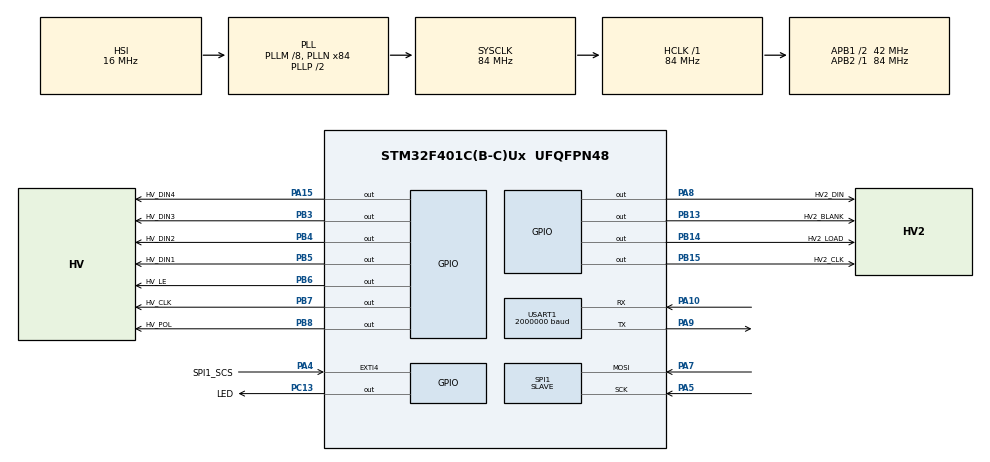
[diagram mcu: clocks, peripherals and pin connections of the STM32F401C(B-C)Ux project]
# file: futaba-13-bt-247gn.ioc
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Dma.Request0=SPI1_RX
Dma.Request1=USART1_RX
Dma.Request2=USART1_TX
Dma.SPI1_RX.0.Direction=DMA_PERIPH_TO_MEMORY
Dma.SPI1_RX.0.FIFOMode=DMA_FIFOMODE_DISABLE
Dma.SPI1_RX.0.Instance=DMA2_Stream0
Dma.SPI1_RX.0.MemDataAlignment=DMA_MDATAALIGN_BYTE
Dma.SPI1_RX.0.MemInc=DMA_MINC_ENABLE
Dma.SPI1_RX.0.Mode=DMA_CIRCULAR
Dma.SPI1_RX.0.PeriphDataAlignment=DMA_PDATAALIGN_BYTE
Dma.SPI1_RX.0.PeriphInc=DMA_PINC_DISABLE
Dma.SPI1_RX.0.Priority=DMA_PRIORITY_LOW
Dma.USART1_RX.1.Direction=DMA_PERIPH_TO_MEMORY
Dma.USART1_RX.1.FIFOMode=DMA_FIFOMODE_DISABLE
Dma.USART1_RX.1.Instance=DMA2_Stream2
Dma.USART1_RX.1.MemDataAlignment=DMA_MDATAALIGN_BYTE
Dma.USART1_RX.1.MemInc=DMA_MINC_ENABLE
Dma.USART1_RX.1.Mode=DMA_NORMAL
Dma.USART1_RX.1.PeriphDataAlignment=DMA_PDATAALIGN_BYTE
Dma.USART1_RX.1.PeriphInc=DMA_PINC_DISABLE
Dma.USART1_RX.1.Priority=DMA_PRIORITY_LOW
Dma.USART1_TX.2.Direction=DMA_MEMORY_TO_PERIPH
Dma.USART1_TX.2.FIFOMode=DMA_FIFOMODE_DISABLE
Dma.USART1_TX.2.Instance=DMA2_Stream7
Dma.USART1_TX.2.MemDataAlignment=DMA_MDATAALIGN_BYTE
Dma.USART1_TX.2.MemInc=DMA_MINC_ENABLE
Dma.USART1_TX.2.Mode=DMA_NORMAL
Dma.USART1_TX.2.PeriphDataAlignment=DMA_PDATAALIGN_BYTE
Dma.USART1_TX.2.PeriphInc=DMA_PINC_DISABLE
Dma.USART1_TX.2.Priority=DMA_PRIORITY_LOW
Mcu.Family=STM32F4
Mcu.Name=STM32F401C(B-C)Ux
Mcu.Package=UFQFPN48
NVIC.DMA2_Stream0_IRQn=true\:0\:0\:false\:false\:true\:false\:true\:true
NVIC.DMA2_Stream2_IRQn=true\:0\:0\:false\:false\:true\:false\:true\:true
NVIC.DMA2_Stream7_IRQn=true\:0\:0\:false\:false\:true\:false\:true\:true
NVIC.EXTI4_IRQn=true\:0\:0\:false\:false\:true\:true\:true\:true
NVIC.PriorityGroup=NVIC_PRIORITYGROUP_4
NVIC.SPI1_IRQn=true\:0\:0\:false\:false\:true\:true\:true\:true
NVIC.USART1_IRQn=true\:0\:0\:false\:false\:true\:true\:true\:true
PA10.Mode=Asynchronous
PA10.Signal=USART1_RX
PA13.Mode=Serial_Wire
PA13.Signal=SYS_JTMS-SWDIO
PA14.Mode=Serial_Wire
PA14.Signal=SYS_JTCK-SWCLK
PA15.GPIO_Label=HV_DIN4
PA15.GPIO_ModeDefaultOutputPP=GPIO_MODE_OUTPUT_OD
PA15.GPIO_PuPd=GPIO_NOPULL
PA15.GPIO_Speed=GPIO_SPEED_FREQ_HIGH
PA15.PinState=GPIO_PIN_RESET
PA15.Signal=GPIO_Output
PA4.GPIO_Label=SPI1_SCS
PA4.GPIO_ModeDefaultEXTI=GPIO_MODE_IT_RISING
PA4.GPIO_PuPd=GPIO_PULLUP
PA4.Signal=GPXTI4
PA5.GPIO_PuPd=GPIO_PULLUP
PA5.Mode=RX_Only_Simplex_Unidirect_Slave
PA5.Signal=SPI1_SCK
PA7.GPIO_PuPd=GPIO_PULLUP
PA7.Mode=RX_Only_Simplex_Unidirect_Slave
PA7.Signal=SPI1_MOSI
PA8.GPIO_Label=HV2_DIN
PA8.GPIO_ModeDefaultOutputPP=GPIO_MODE_OUTPUT_OD
PA8.GPIO_PuPd=GPIO_NOPULL
PA8.GPIO_Speed=GPIO_SPEED_FREQ_HIGH
PA8.PinState=GPIO_PIN_RESET
PA8.Signal=GPIO_Output
PA9.Mode=Asynchronous
PA9.Signal=USART1_TX
PB13.GPIO_Label=HV2_BLANK
PB13.GPIO_ModeDefaultOutputPP=GPIO_MODE_OUTPUT_OD
PB13.GPIO_PuPd=GPIO_NOPULL
PB13.GPIO_Speed=GPIO_SPEED_FREQ_HIGH
PB13.PinState=GPIO_PIN_RESET
PB13.Signal=GPIO_Output
PB14.GPIO_Label=HV2_LOAD
PB14.GPIO_ModeDefaultOutputPP=GPIO_MODE_OUTPUT_OD
PB14.GPIO_PuPd=GPIO_NOPULL
PB14.GPIO_Speed=GPIO_SPEED_FREQ_HIGH
PB14.PinState=GPIO_PIN_RESET
PB14.Signal=GPIO_Output
PB15.GPIO_Label=HV2_CLK
PB15.GPIO_ModeDefaultOutputPP=GPIO_MODE_OUTPUT_OD
PB15.GPIO_PuPd=GPIO_NOPULL
PB15.GPIO_Speed=GPIO_SPEED_FREQ_HIGH
PB15.PinState=GPIO_PIN_RESET
PB15.Signal=GPIO_Output
PB3.GPIO_Label=HV_DIN3
PB3.GPIO_ModeDefaultOutputPP=GPIO_MODE_OUTPUT_OD
PB3.GPIO_PuPd=GPIO_NOPULL
PB3.GPIO_Speed=GPIO_SPEED_FREQ_HIGH
PB3.PinState=GPIO_PIN_RESET
PB3.Signal=GPIO_Output
PB4.GPIO_Label=HV_DIN2
PB4.GPIO_ModeDefaultOutputPP=GPIO_MODE_OUTPUT_OD
PB4.GPIO_PuPd=GPIO_NOPULL
PB4.GPIO_Speed=GPIO_SPEED_FREQ_HIGH
PB4.PinState=GPIO_PIN_RESET
PB4.Signal=GPIO_Output
PB5.GPIO_Label=HV_DIN1
PB5.GPIO_ModeDefaultOutputPP=GPIO_MODE_OUTPUT_OD
PB5.GPIO_PuPd=GPIO_NOPULL
PB5.GPIO_Speed=GPIO_SPEED_FREQ_HIGH
PB5.PinState=GPIO_PIN_RESET
PB5.Signal=GPIO_Output
PB6.GPIO_Label=HV_LE
PB6.GPIO_ModeDefaultOutputPP=GPIO_MODE_OUTPUT_OD
PB6.GPIO_PuPd=GPIO_NOPULL
PB6.GPIO_Speed=GPIO_SPEED_FREQ_HIGH
PB6.PinState=GPIO_PIN_RESET
PB6.Signal=GPIO_Output
PB7.GPIO_Label=HV_CLK
PB7.GPIO_ModeDefaultOutputPP=GPIO_MODE_OUTPUT_OD
PB7.GPIO_PuPd=GPIO_NOPULL
PB7.GPIO_Speed=GPIO_SPEED_FREQ_HIGH
PB7.PinState=GPIO_PIN_RESET
PB7.Signal=GPIO_Output
PB8.GPIO_Label=HV_POL
PB8.GPIO_ModeDefaultOutputPP=GPIO_MODE_OUTPUT_OD
PB8.GPIO_PuPd=GPIO_NOPULL
PB8.GPIO_Speed=GPIO_SPEED_FREQ_HIGH
PB8.PinState=GPIO_PIN_RESET
PB8.Signal=GPIO_Output
PC13-ANTI_TAMP.GPIO_Label=LED
PC13-ANTI_TAMP.GPIO_PuPd=GPIO_PULLUP
PC13-ANTI_TAMP.PinState=GPIO_PIN_SET
PC13-ANTI_TAMP.Signal=GPIO_Output
ProjectManager.HeapSize=0x200
ProjectManager.StackSize=0x400
ProjectManager.TargetToolchain=MDK-ARM V5.32
RCC.48MHZClocksFreq_Value=42000000
RCC.AHBFreq_Value=84000000
RCC.APB1CLKDivider=RCC_HCLK_DIV2
RCC.APB1Freq_Value=42000000
RCC.APB1TimFreq_Value=84000000
RCC.APB2Freq_Value=84000000
RCC.APB2TimFreq_Value=84000000
RCC.CortexFreq_Value=84000000
RCC.HCLKFreq_Value=84000000
RCC.HSE_VALUE=25000000
RCC.HSI_VALUE=16000000
RCC.LSE_VALUE=32768
RCC.PLLM=8
RCC.PLLN=84
RCC.SYSCLKFreq_VALUE=84000000
RCC.SYSCLKSource=RCC_SYSCLKSOURCE_PLLCLK
RCC.VCOOutputFreq_Value=168000000
SPI1.Direction=SPI_DIRECTION_2LINES_RXONLY
SPI1.Mode=SPI_MODE_SLAVE
SPI1.VirtualType=VM_SLAVE
USART1.BaudRate=2000000
USART1.VirtualMode=VM_ASYNC
board=custom

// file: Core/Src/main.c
/* USER CODE BEGIN Header */
/**
 ******************************************************************************
 * @file           : main.c
 * @brief          : Main program body
 ******************************************************************************
 * @attention
 *
 * Copyright (c) 2025 STMicroelectronics.
 * All rights reserved.
 *
 * This software is licensed under terms that can be found in the LICENSE file
 * in the root directory of this software component.
 * If no LICENSE file comes with this software, it is provided AS-IS.
 *
 ******************************************************************************
 */
/* USER CODE END Header */
#include "main.h"
#include "dma.h"
#include "spi.h"
#include "usart.h"
#include "gpio.h"

/* USER CODE BEGIN Includes */
#include <stdio.h>
#include <string.h>
#include "13-bt-247gn.h"
/* USER CODE END Includes */

void SystemClock_Config(void);

/* USER CODE BEGIN 0 */
int testMode = 0;
#define BUFFER_SIZE 256
uint8_t uart_rx_buffer[BUFFER_SIZE];
uint8_t spi_rx_buffer[BUFFER_SIZE];
/* USER CODE END 0 */

int main(void)
{

  /* MCU Configuration--------------------------------------------------------*/

  /* Reset of all peripherals, Initializes the Flash interface and the Systick. */
  HAL_Init();

  /* Configure the system clock */
  SystemClock_Config();

  /* Initialize all configured peripherals */
  MX_GPIO_Init();
  MX_DMA_Init();
  MX_SPI1_Init();
  MX_USART1_UART_Init();
  /* USER CODE BEGIN 2 */
  // HAL_SPI_Receive_DMA(&hspi1, spi_rx_buffer, BUFFER_SIZE);
  HAL_UARTEx_ReceiveToIdle_DMA(&huart1, uart_rx_buffer, BUFFER_SIZE);
  init_screen();
  /* USER CODE END 2 */

  /* Infinite loop */
  while (1)
  {

    /* USER CODE BEGIN 3 */
    if (testMode)
      test();
    scan_screen();
  }
  /* USER CODE END 3 */
}

void SystemClock_Config(void)
{
  RCC_OscInitTypeDef RCC_OscInitStruct = {0};
  RCC_ClkInitTypeDef RCC_ClkInitStruct = {0};

  /** Configure the main internal regulator output voltage
   */
  __HAL_RCC_PWR_CLK_ENABLE();
  __HAL_PWR_VOLTAGESCALING_CONFIG(PWR_REGULATOR_VOLTAGE_SCALE2);

  /** Initializes the RCC Oscillators according to the specified parameters
   * in the RCC_OscInitTypeDef structure.
   */
  RCC_OscInitStruct.OscillatorType = RCC_OSCILLATORTYPE_HSI;
  RCC_OscInitStruct.HSIState = RCC_HSI_ON;
  RCC_OscInitStruct.HSICalibrationValue = RCC_HSICALIBRATION_DEFAULT;
  RCC_OscInitStruct.PLL.PLLState = RCC_PLL_ON;
  RCC_OscInitStruct.PLL.PLLSource = RCC_PLLSOURCE_HSI;
  RCC_OscInitStruct.PLL.PLLM = 8;
  RCC_OscInitStruct.PLL.PLLN = 84;
  RCC_OscInitStruct.PLL.PLLP = RCC_PLLP_DIV2;
  RCC_OscInitStruct.PLL.PLLQ = 4;
  if (HAL_RCC_OscConfig(&RCC_OscInitStruct) != HAL_OK)
  {
    Error_Handler();
  }

  /** Initializes the CPU, AHB and APB buses clocks
   */
  RCC_ClkInitStruct.ClockType = RCC_CLOCKTYPE_HCLK | RCC_CLOCKTYPE_SYSCLK | RCC_CLOCKTYPE_PCLK1 | RCC_CLOCKTYPE_PCLK2;
  RCC_ClkInitStruct.SYSCLKSource = RCC_SYSCLKSOURCE_PLLCLK;
  RCC_ClkInitStruct.AHBCLKDivider = RCC_SYSCLK_DIV1;
  RCC_ClkInitStruct.APB1CLKDivider = RCC_HCLK_DIV2;
  RCC_ClkInitStruct.APB2CLKDivider = RCC_HCLK_DIV1;

  if (HAL_RCC_ClockConfig(&RCC_ClkInitStruct, FLASH_LATENCY_2) != HAL_OK)
  {
    Error_Handler();
  }
}

/* USER CODE BEGIN 4 */
extern uint8_t pixel_gram[];
extern uint8_t num_gram[];
extern uint8_t icon_gram[];

void Data_RxIntCpltCallback(uint8_t *recv_buff, int count)
{
  uint8_t *pGram = (uint8_t *)&internalGram;
  {
    testMode = 0;
    //		if(recv_buff[0] == 0xFF)
    //			NVIC_SystemReset();
    //				printf("%02X %d\r\n", recv_buff[0], count);
    if (recv_buff[0] < 0x20) // range:0x00-0x0D
    {
      //      for (size_t i = 0; i < (count - 1) && (recv_buff[0] * 9 + i) < (9 * 13); i++)
      //      {
      //        pGram[recv_buff[0] * 9 + i] = recv_buff[i + 1];
      //        //			printf("%02X ", recv_buff[i + 1]);
      //      }
    }
    else if (recv_buff[0] < 0x40) // bit 4-2:x, bit 0:y range:0x20-0x3F
    {
      int x = ((recv_buff[0] & 0x1E) >> 1);
      int y = recv_buff[0] & 1;
      memcpy(pixel_gram + x * 5 + y * 10 * 5, recv_buff + 1, (count - 1) > (PIXEL_COUNT * 5) ? (PIXEL_COUNT * 5) : (count - 1));
    }
    else if (recv_buff[0] < 0x60) // bit 4-2:x, bit 0:y range:0x40-0x5F
    {
      memcpy(num_gram + (recv_buff[0] & 0x1F), recv_buff + 1, (count - 1) > NUM_COUNT ? NUM_COUNT : (count - 1));
    }
    else if (recv_buff[0] == 0x60) // bit 4-2:x, bit 0:y range:0x60
    {
      memcpy(icon_gram + recv_buff[1], recv_buff + 2, (count - 2) > ICON_COUNT ? ICON_COUNT : (count - 2));
    }
    else if (recv_buff[0] < 0xA0) // bit 4-2:x, bit 0:y range:0x80-0x9F
    {
      int x = (recv_buff[0] & 0x1F);
      for (size_t i = 0; i < (count - 1) && (x + i < NUM_COUNT); i++)
      {
        num_gram[x + i] = num_hex_codes[recv_buff[i + 1] - ' '];
      }
    }
    else if (recv_buff[0] < 0xB0) // bit 4-2:x, bit 0:y range:0xA0-0xAF
    {
      int x = ((recv_buff[0] & 0x1E) >> 1);
      int y = recv_buff[0] & 1;
      for (size_t i = 0; i < (count - 1) && (i + x + 10 * y < PIXEL_COUNT); i++)
      {
        for (size_t j = 0; j < 5; j++)
        {
          pixel_gram[x * 5 + y * 10 * 5 + i * 5 + j] = hex_codes[recv_buff[i + 1] - ' '][j];
        }
      }
    }
    else if (recv_buff[0] < 0xC0) // bit 4-2:x, bit 0:y range:0xB0-0xBF
    {
      if (recv_buff[0] == 0xB0)
        setdimming(recv_buff[1]);
    }
    //		printf("count: %d\n", count);
    HAL_GPIO_TogglePin(LED_GPIO_Port, LED_Pin);
    //    for (i = 0; i < 13; i++)
    //		{
    //			for (j = 0; j < 9; j++)
    //				printf("%02X ", internalGram[i][j]);
    //			printf("\n");
    //		}
  }
  memset(recv_buff, 0, BUFFER_SIZE);
}

void HAL_UARTEx_RxEventCallback(UART_HandleTypeDef *huart, uint16_t Size)
{
  if (&huart1 == huart)
  {
    Data_RxIntCpltCallback(uart_rx_buffer, Size);
    HAL_UARTEx_ReceiveToIdle_DMA(&huart1, uart_rx_buffer, BUFFER_SIZE);
  }
}

void HAL_GPIO_EXTI_Callback(uint16_t GPIO_Pin)
{
  uint16_t remaining_count = hdma_spi1_rx.Instance->NDTR;
  uint16_t current_count = BUFFER_SIZE - remaining_count;
  HAL_SPI_DMAStop(&hspi1);
  __HAL_RCC_SPI1_FORCE_RESET();
  __HAL_RCC_SPI1_RELEASE_RESET();
  HAL_SPI_Init(&hspi1);

  Data_RxIntCpltCallback(spi_rx_buffer, current_count);

  HAL_SPI_Receive_DMA(&hspi1, spi_rx_buffer, BUFFER_SIZE);

  // printf("%d --> %d", GPIO_Pin, HAL_GPIO_ReadPin(SPI1_SCS_GPIO_Port, SPI1_SCS_Pin));
}

/* USER CODE END 4 */

void Error_Handler(void)
{
  __disable_irq();
  while (1)
  {
  }
}
